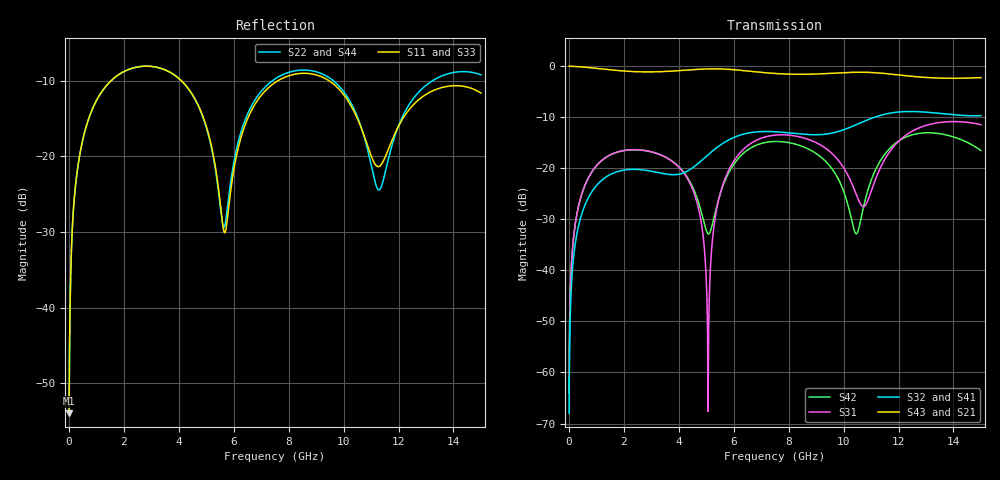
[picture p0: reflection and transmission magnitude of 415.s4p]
! Created with skrf 1.8.0 (http://scikit-rf.org).
# GHz S RI R 50.0
!freq ReS11 ImS11 ReS12 ImS12 ReS13 ImS13
! ReS14 ImS14
! ReS21 ImS21 ReS22 ImS22 ReS23 ImS23
! ReS24 ImS24
! ReS31 ImS31 ReS32 ImS32 ReS33 ImS33
! ReS34 ImS34
! ReS41 ImS41 ReS42 ImS42 ReS43 ImS43
! ReS44 ImS44
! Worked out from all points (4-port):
!   2499 points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, 5 MHz to 15 GHz, reference 50 ohm
!   strongest paths, dB at 5 MHz, 3.476 GHz, 7.19 GHz, 11.1 GHz, 15 GHz:
!     S43: 0.0, -1.1, -1.3, -1.3, -2.3
!     S21: 0.0, -1.1, -1.3, -1.3, -2.2
!     S32: -68.0, -21.1, -12.8, -10.1, -9.7
!     S41: -68.0, -21.1, -12.8, -10.1, -9.8
!     S31: -64.1, -17.7, -13.8, -23.1, -11.5
!     S42: -64.1, -17.7, -14.9, -21.1, -16.5
!   lowest |S11| = -54.0 dB at 5 MHz (marker M1), VSWR 1.00, Z = 50.2 + j0.121 ohm
!   |S11| at or under -10 dB: start of sweep to 1.529 GHz; 4.097 GHz to 7.602 GHz (3.505 GHz wide, 59.9 % of centre); 9.476 GHz to end of sweep
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0.005  0.00159 0.00121  0.9984 -0.0031  7.94e-05 0.000621  -7.71e-05 -0.000391
       0.9984 -0.0031  0.00159 0.00121  -7.71e-05 -0.000391  7.93e-05 0.000621
       7.94e-05 0.000621  -7.71e-05 -0.000391  0.00159 0.00121  0.9984 -0.0031
       -7.71e-05 -0.000391  7.93e-05 0.000621  0.9984 -0.0031  0.00159 0.00121
0.3126303  0.0228 0.0798  0.9689 -0.1928  0.0103 0.037  -0.00857 -0.0231
           0.9689 -0.1928  0.0228 0.0798  -0.00857 -0.0231  0.0102 0.037
           0.0103 0.037  -0.00857 -0.0231  0.0228 0.0798  0.9689 -0.1928
           -0.00857 -0.0231  0.0102 0.037  0.9689 -0.1928  0.0228 0.0798
1.519383  0.2548 0.1851  0.5828 -0.7098  0.1199 0.0637  -0.0863 -0.0118
          0.5828 -0.7098  0.2552 0.1848  -0.0864 -0.0117  0.1192 0.0645
          0.1199 0.0637  -0.0864 -0.0117  0.2547 0.1851  0.5828 -0.7098
          -0.0863 -0.0118  0.1192 0.0645  0.5828 -0.7098  0.2551 0.1848
5.06461  0.0716 -0.1251  -0.8613 -0.3732  -0.000342 -0.000237  -0.0505 0.1256
         -0.8613 -0.3732  0.0717 -0.1217  -0.0492 0.1261  -0.0213 -0.00817
         -0.000342 -0.000237  -0.0492 0.1261  0.072 -0.1237  -0.8615 -0.3731
         -0.0505 0.1256  -0.0213 -0.00817  -0.8615 -0.3731  0.0702 -0.1211
6.583993  0.1299 0.1405  -0.7924 0.4072  0.14 0.1002  0.1328 0.1783
          -0.7924 0.4072  0.1434 0.1464  0.1345 0.1772  0.0959 0.1228
          0.14 0.1002  0.1345 0.1772  0.1312 0.1405  -0.7924 0.4069
          0.1328 0.1783  0.0959 0.1228  -0.7924 0.4069  0.1427 0.1481
11.17341  0.0849 -0.0211  0.8386 0.192  -0.0131 0.0781  0.0679 -0.3118
          0.8386 0.192  0.0591 -0.0277  0.0623 -0.3126  -0.0182 0.0961
          -0.0131 0.0781  0.0623 -0.3126  0.0869 -0.0182  0.8384 0.1934
          0.0679 -0.3118  -0.0182 0.0961  0.8384 0.1934  0.0559 -0.0246
15  0.25 -0.0804  -0.1438 -0.7588  0.1161 -0.2399  -0.3028 0.1187
    -0.1438 -0.7588  0.3164 -0.1412  -0.3016 0.1275  0.1439 -0.0386
    0.1161 -0.2399  -0.3016 0.1275  0.2527 -0.0741  -0.1384 -0.7591
    -0.3028 0.1187  0.1439 -0.0386  -0.1384 -0.7591  0.3201 -0.1423
